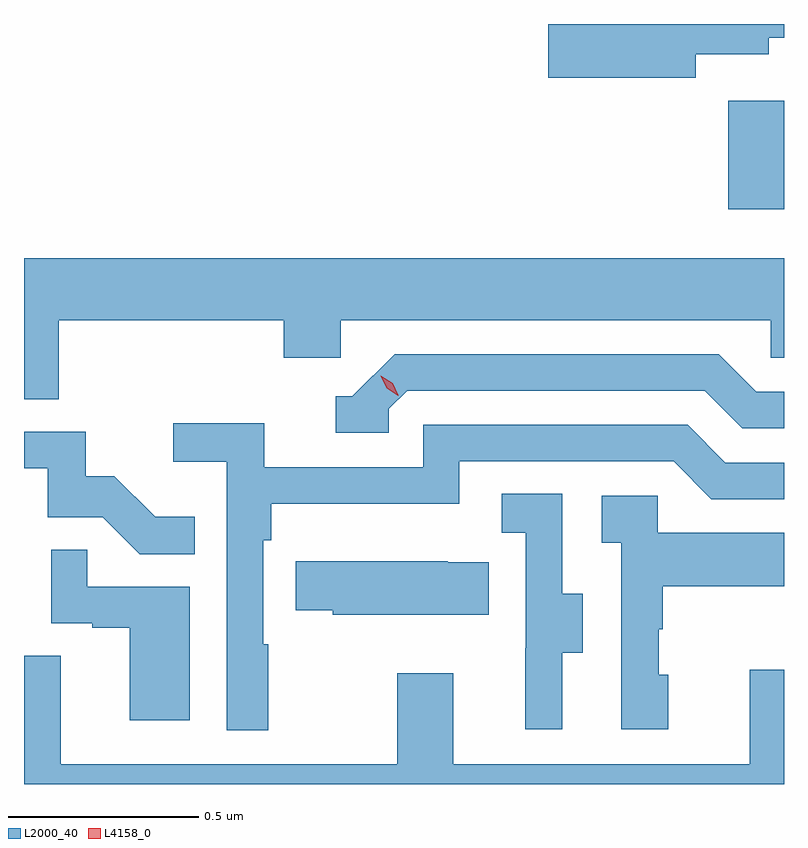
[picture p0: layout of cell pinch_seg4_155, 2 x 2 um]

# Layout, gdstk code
import gdstk
lib = gdstk.Library(unit=1e-6, precision=1e-09)
def R(c, l, rs):  # rectangles x0, y0, x1, y1
    for r in rs: c.add(gdstk.rectangle(r[:2], r[2:], *l))
def P(c, l, *ps):  # polygons
    for p in ps: c.add(gdstk.Polygon(p, *l))
L2000_40 = (2000, 40)
L4158_0 = (4158, 0)

pinch_seg4_155 = lib.new_cell('pinch_seg4_155')
R(pinch_seg4_155, L2000_40, [(1138.613,794.448,1138.76,794.734)])
P(pinch_seg4_155, L2000_40, [(1138.528,794.856),(1138.72,794.856),(1138.72,794.9),(1138.76,794.9),(1138.76,794.936),(1138.14,794.936),(1138.14,794.794),(1138.528,794.794)],
  [(1136.852,794.156),(1137.443,794.156),(1137.443,794.058),(1137.594,794.058),(1137.594,794.156),(1138.725,794.156),(1138.725,794.058),(1138.76,794.058),(1138.76,794.32),(1136.76,794.32),(1136.76,793.948),(1136.852,793.948)],
  [(1137.72,793.923),(1137.768,793.971),(1138.551,793.971),(1138.65,793.872),(1138.76,793.872),(1138.76,793.968),(1138.687,793.968),(1138.588,794.067),(1137.735,794.067),(1137.624,793.956),(1137.581,793.956),(1137.581,793.86),(1137.72,793.86)],
  [(1137.403,793.304),(1137.39,793.304),(1137.39,793.577),(1137.41,793.577),(1137.41,793.673),(1137.906,793.673),(1137.906,793.785),(1138.47,793.785),(1138.569,793.686),(1138.76,793.686),(1138.76,793.782),(1138.606,793.782),(1138.507,793.881),(1137.81,793.881),(1137.81,793.77),(1137.392,793.77),(1137.392,793.886),(1137.153,793.886),(1137.153,793.784),(1137.294,793.784),(1137.294,793.077),(1137.403,793.077)],
  [(1137.209,793.639),(1137.105,793.639),(1136.998,793.746),(1136.922,793.746),(1136.922,793.863),(1136.76,793.863),(1136.76,793.767),(1136.823,793.767),(1136.823,793.638),(1136.967,793.638),(1137.065,793.54),(1137.209,793.54)],
  [(1138.177,793.282),(1138.231,793.282),(1138.231,793.437),(1138.176,793.437),(1138.176,793.7),(1138.017,793.7),(1138.017,793.597),(1138.08,793.597),(1138.08,793.293),(1138.079,793.293),(1138.079,793.08),(1138.177,793.08)],
  [(1138.456,793.224),(1138.431,793.224),(1138.431,793.343),(1138.441,793.343),(1138.441,793.457),(1138.76,793.457),(1138.76,793.597),(1138.428,793.597),(1138.428,793.695),(1138.281,793.695),(1138.281,793.571),(1138.332,793.571),(1138.332,793.08),(1138.456,793.08)],
  [(1137.196,793.455),(1136.927,793.455),(1136.927,793.553),(1136.832,793.553),(1136.832,793.359),(1136.939,793.359),(1136.939,793.347),(1137.038,793.347),(1137.038,793.104),(1137.196,793.104)],
  [(1137.983,793.519),(1137.875,793.519),(1137.875,793.522),(1137.475,793.522),(1137.475,793.393),(1137.573,793.393),(1137.573,793.382),(1137.983,793.382)],
  [(1138.76,793.237),(1138.67,793.237),(1138.67,792.988),(1137.889,792.988),(1137.889,793.228),(1137.742,793.228),(1137.742,792.988),(1136.857,792.988),(1136.857,793.274),(1136.76,793.274),(1136.76,792.936),(1138.76,792.936)])
P(pinch_seg4_155, L4158_0, [(1137.745,793.958),(1137.715,793.978),(1137.699,794.011),(1137.699,794.011),(1137.699,794.011),(1137.73,793.991),(1137.745,793.959),(1137.745,793.958)])

lib.write_gds('pinch_seg4_155.gds')
